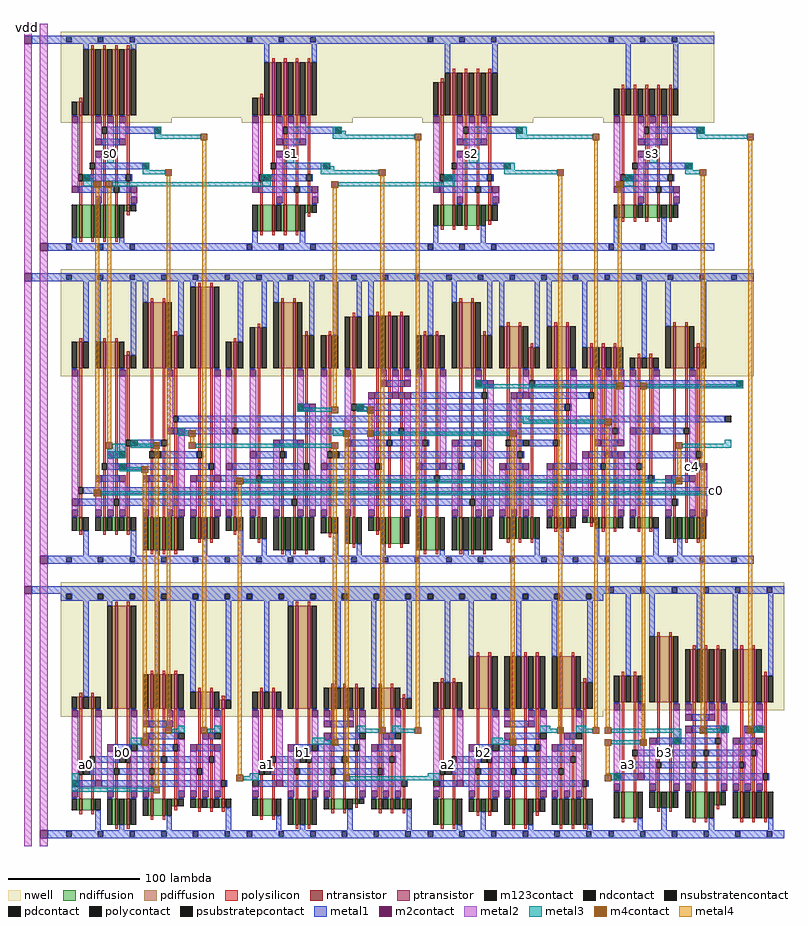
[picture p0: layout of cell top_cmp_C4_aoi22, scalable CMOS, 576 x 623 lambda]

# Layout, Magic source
magic
tech scmos
<< nwell >>
rect 0 546 495 611
rect 0 354 525 431
rect 0 101 548 194
<< metal1 >>
rect -22 602 495 608
rect -10 445 495 451
rect -22 422 525 428
rect -10 208 525 214
rect -22 185 548 191
rect -10 0 548 6
<< m2contact >>
rect -28 602 -22 608
rect -16 445 -10 451
rect -28 422 -22 428
rect -16 208 -10 214
rect -28 185 -22 191
rect -16 0 -10 6
<< metal2 >>
rect -28 608 -22 617
rect -28 428 -22 602
rect -28 191 -22 422
rect -28 -6 -22 185
rect -16 451 -10 617
rect -16 214 -10 445
rect -16 6 -10 208
rect -16 -6 -10 0
<< metal3 >>
rect 71 533 76 539
rect 206 536 213 539
rect 71 530 106 533
rect 206 533 216 536
rect 206 530 268 533
rect 345 533 353 539
rect 345 530 403 533
rect 482 533 488 539
rect 482 530 520 533
rect 35 512 40 521
rect 170 512 177 521
rect 309 512 317 521
rect 446 512 452 521
rect 62 506 67 512
rect 197 509 204 512
rect 62 503 79 506
rect 17 500 22 503
rect 197 506 207 509
rect 197 503 241 506
rect 17 494 25 500
rect 152 497 159 503
rect 336 506 344 512
rect 336 503 376 506
rect 291 500 299 503
rect 473 506 479 512
rect 473 503 484 506
rect 428 500 434 503
rect 39 494 159 497
rect 290 497 299 500
rect 210 494 299 497
rect 426 494 434 500
rect 314 344 319 347
rect 314 341 421 344
rect 512 344 517 347
rect 444 341 517 344
rect 179 326 184 329
rect 224 327 229 329
rect 179 323 205 326
rect 224 323 232 327
rect 350 317 355 320
rect 350 314 412 317
rect 89 309 94 311
rect 206 309 211 311
rect 89 305 97 309
rect 206 305 214 309
rect 237 305 340 308
rect 53 299 58 302
rect 39 295 49 299
rect 53 296 70 299
rect 102 296 205 299
rect 503 299 508 302
rect 471 296 508 299
rect 35 288 49 295
rect 44 281 49 284
rect 44 278 61 281
rect 476 278 481 284
rect 138 269 466 272
rect 494 263 499 266
rect 30 260 499 263
rect 89 83 94 85
rect 84 80 94 83
rect 116 83 121 85
rect 111 80 121 83
rect 224 83 231 85
rect 224 80 241 83
rect 251 83 258 85
rect 251 80 268 83
rect 363 83 371 85
rect 363 80 376 83
rect 390 83 398 85
rect 390 80 403 83
rect 417 80 470 83
rect 53 75 65 76
rect 53 71 61 75
rect 190 74 200 76
rect 190 71 205 74
rect 327 74 335 76
rect 327 71 340 74
rect 417 71 439 74
rect 464 71 470 80
rect 500 83 506 85
rect 527 84 533 85
rect 489 80 506 83
rect 525 80 533 84
rect 44 62 49 67
rect 179 62 186 67
rect 318 62 326 67
rect 455 62 461 67
rect 17 53 22 58
rect 152 53 159 58
rect 291 53 299 58
rect 428 53 434 58
rect 8 38 13 49
rect 143 47 150 49
rect 138 44 150 47
rect 278 47 287 49
rect 413 48 424 49
rect 219 44 287 47
rect 417 44 424 48
rect 8 35 70 38
<< m4contact >>
rect 106 529 111 534
rect 268 529 273 534
rect 403 529 408 534
rect 520 529 525 534
rect 79 502 84 507
rect 25 493 30 498
rect 34 493 39 498
rect 241 502 246 507
rect 376 502 381 507
rect 484 502 489 507
rect 205 493 210 498
rect 421 493 426 498
rect 421 340 426 345
rect 439 340 444 345
rect 205 322 210 327
rect 232 322 237 327
rect 412 313 417 318
rect 97 304 102 309
rect 214 304 219 309
rect 232 304 237 309
rect 340 304 345 309
rect 34 295 39 300
rect 70 295 75 300
rect 97 295 102 300
rect 205 295 210 300
rect 466 295 471 300
rect 61 277 66 282
rect 133 268 138 273
rect 466 268 471 273
rect 25 259 30 264
rect 79 79 84 84
rect 106 79 111 84
rect 241 79 246 84
rect 268 79 273 84
rect 376 79 381 84
rect 403 79 408 84
rect 412 79 417 84
rect 61 70 66 75
rect 205 70 210 75
rect 340 70 345 75
rect 412 70 417 75
rect 439 70 444 75
rect 484 79 489 84
rect 520 79 525 84
rect 133 43 138 48
rect 214 43 219 48
rect 412 43 417 48
rect 70 34 75 39
<< metal4 >>
rect 26 264 29 493
rect 35 300 38 493
rect 62 75 65 277
rect 71 39 74 295
rect 80 84 83 502
rect 98 300 101 304
rect 107 84 110 529
rect 206 327 209 493
rect 233 309 236 322
rect 134 48 137 268
rect 206 75 209 295
rect 215 48 218 304
rect 242 84 245 502
rect 269 84 272 529
rect 341 75 344 304
rect 377 84 380 502
rect 404 84 407 529
rect 422 345 425 493
rect 413 84 416 313
rect 440 75 443 340
rect 467 273 470 295
rect 485 84 488 502
rect 521 84 524 529
rect 413 48 416 70
use carry  carry_0
transform 1 0 0 0 1 208
box 0 0 525 223
use pg0  pg0_0
transform 1 0 0 0 1 0
box 0 0 137 194
use pg1  pg1_0
transform 1 0 137 0 1 0
box 0 0 137 194
use pg2  pg2_0
transform 1 0 274 0 1 0
box 0 0 137 194
use pg3  pg3_0
transform 1 0 411 0 1 0
box 0 0 137 194
use sum0  sum0_0
transform 1 0 0 0 1 445
box 0 0 84 166
use sum1  sum1_0
transform 1 0 137 0 1 445
box 0 0 84 166
use sum2  sum2_0
transform 1 0 274 0 1 445
box 0 0 84 166
use sum3  sum3_0
transform 1 0 411 0 1 445
box 0 0 84 166
<< labels >>
rlabel metal3 19 53 20 58 0 a0
port 1 nsew
rlabel metal3 156 53 157 58 0 a1
port 2 nsew
rlabel metal3 293 53 294 58 0 a2
port 3 nsew
rlabel metal3 430 53 431 58 0 a3
port 4 nsew
rlabel metal3 46 62 47 67 0 b0
port 5 nsew
rlabel metal3 183 62 184 67 0 b1
port 6 nsew
rlabel metal3 320 62 321 67 0 b2
port 7 nsew
rlabel metal3 457 62 458 67 0 b3
port 8 nsew
rlabel metal3 496 261 497 266 0 c0
port 9 nsew
rlabel metal3 478 279 479 284 0 c4
port 10 nsew
rlabel metal3 37 516 38 521 0 s0
port 11 nsew
rlabel metal3 174 516 175 521 0 s1
port 12 nsew
rlabel metal3 311 516 312 521 0 s2
port 13 nsew
rlabel metal3 448 516 449 521 0 s3
port 14 nsew
rlabel metal2 -28 611 -22 617 0 vdd
port 15 nsew
rlabel metal2 -16 611 -10 617 0 gnd
port 16 nsew
<< end >>

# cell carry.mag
magic
tech scmos
<< nwell >>
rect 0 142 525 223
<< ntransistor >>
rect 14 25 16 35
rect 32 25 34 35
rect 41 25 43 35
rect 50 25 52 35
rect 68 10 70 35
rect 77 10 79 35
rect 86 10 88 35
rect 104 19 106 35
rect 113 19 115 35
rect 131 25 133 35
rect 149 19 151 35
rect 167 10 169 35
rect 176 10 178 35
rect 185 10 187 35
rect 203 23 205 35
rect 221 15 223 35
rect 239 25 241 35
rect 248 15 250 35
rect 257 15 259 35
rect 275 10 277 35
rect 284 10 286 35
rect 302 10 304 35
rect 311 10 313 35
rect 320 10 322 35
rect 338 19 340 35
rect 347 19 349 35
rect 356 19 358 35
rect 374 27 376 35
rect 383 27 385 35
rect 401 31 403 35
rect 410 27 412 35
rect 419 27 421 35
rect 437 27 439 35
rect 446 27 448 35
rect 464 19 466 35
rect 473 19 475 35
rect 482 19 484 35
<< ptransistor >>
rect 14 148 16 168
rect 32 148 34 168
rect 41 148 43 168
rect 50 148 52 158
rect 68 148 70 198
rect 77 148 79 198
rect 86 148 88 173
rect 104 148 106 210
rect 113 148 115 210
rect 131 148 133 168
rect 149 148 151 179
rect 167 148 169 198
rect 176 148 178 198
rect 185 148 187 173
rect 203 148 205 173
rect 221 148 223 187
rect 239 148 241 188
rect 248 148 250 188
rect 257 148 259 188
rect 275 148 277 173
rect 284 148 286 173
rect 302 148 304 198
rect 311 148 313 198
rect 320 148 322 173
rect 338 148 340 180
rect 347 148 349 180
rect 356 148 358 164
rect 374 148 376 180
rect 383 148 385 180
rect 401 148 403 164
rect 410 148 412 164
rect 419 148 421 164
rect 437 148 439 156
rect 446 148 448 156
rect 464 148 466 180
rect 473 148 475 180
rect 482 148 484 164
<< ndiffusion >>
rect 12 25 14 35
rect 16 25 17 35
rect 30 25 32 35
rect 34 25 35 35
rect 39 25 41 35
rect 43 25 44 35
rect 48 25 50 35
rect 52 25 53 35
rect 66 10 68 35
rect 70 10 71 35
rect 75 10 77 35
rect 79 10 80 35
rect 84 10 86 35
rect 88 10 89 35
rect 102 19 104 35
rect 106 19 107 35
rect 111 19 113 35
rect 115 19 116 35
rect 129 25 131 35
rect 133 25 134 35
rect 147 19 149 35
rect 151 19 152 35
rect 165 10 167 35
rect 169 10 170 35
rect 174 10 176 35
rect 178 10 179 35
rect 183 10 185 35
rect 187 10 188 35
rect 201 23 203 35
rect 205 23 206 35
rect 219 15 221 35
rect 223 15 224 35
rect 237 25 239 35
rect 241 25 242 35
rect 246 15 248 35
rect 250 15 257 35
rect 259 15 260 35
rect 273 10 275 35
rect 277 10 284 35
rect 286 10 287 35
rect 300 10 302 35
rect 304 10 305 35
rect 309 10 311 35
rect 313 10 314 35
rect 318 10 320 35
rect 322 10 323 35
rect 336 19 338 35
rect 340 19 341 35
rect 345 19 347 35
rect 349 19 350 35
rect 354 19 356 35
rect 358 19 359 35
rect 372 27 374 35
rect 376 27 377 35
rect 381 27 383 35
rect 385 27 386 35
rect 399 31 401 35
rect 403 31 404 35
rect 408 27 410 35
rect 412 27 419 35
rect 421 27 422 35
rect 435 27 437 35
rect 439 27 446 35
rect 448 27 449 35
rect 462 19 464 35
rect 466 19 467 35
rect 471 19 473 35
rect 475 19 476 35
rect 480 19 482 35
rect 484 19 485 35
<< pdiffusion >>
rect 12 148 14 168
rect 16 148 17 168
rect 30 148 32 168
rect 34 148 41 168
rect 43 148 44 168
rect 48 148 50 158
rect 52 148 53 158
rect 66 148 68 198
rect 70 148 77 198
rect 79 148 80 198
rect 84 148 86 173
rect 88 148 89 173
rect 102 148 104 210
rect 106 148 113 210
rect 115 148 116 210
rect 129 148 131 168
rect 133 148 134 168
rect 147 148 149 179
rect 151 148 152 179
rect 165 148 167 198
rect 169 148 176 198
rect 178 148 179 198
rect 183 148 185 173
rect 187 148 188 173
rect 201 148 203 173
rect 205 148 206 173
rect 219 148 221 187
rect 223 148 224 187
rect 237 148 239 188
rect 241 148 242 188
rect 246 148 248 188
rect 250 148 251 188
rect 255 148 257 188
rect 259 148 260 188
rect 273 148 275 173
rect 277 148 278 173
rect 282 148 284 173
rect 286 148 287 173
rect 300 148 302 198
rect 304 148 311 198
rect 313 148 314 198
rect 318 148 320 173
rect 322 148 323 173
rect 336 148 338 180
rect 340 148 347 180
rect 349 148 350 180
rect 354 148 356 164
rect 358 148 359 164
rect 372 148 374 180
rect 376 148 383 180
rect 385 148 386 180
rect 399 148 401 164
rect 403 148 404 164
rect 408 148 410 164
rect 412 148 413 164
rect 417 148 419 164
rect 421 148 422 164
rect 435 148 437 156
rect 439 148 440 156
rect 444 148 446 156
rect 448 148 449 156
rect 462 148 464 180
rect 466 148 473 180
rect 475 148 476 180
rect 480 148 482 164
rect 484 148 485 164
<< ndcontact >>
rect 8 25 12 35
rect 17 25 21 35
rect 26 25 30 35
rect 35 25 39 35
rect 44 25 48 35
rect 53 25 57 35
rect 62 10 66 35
rect 71 10 75 35
rect 80 10 84 35
rect 89 10 93 35
rect 98 19 102 35
rect 107 19 111 35
rect 116 19 120 35
rect 125 25 129 35
rect 134 25 138 35
rect 143 19 147 35
rect 152 19 156 35
rect 161 10 165 35
rect 170 10 174 35
rect 179 10 183 35
rect 188 10 192 35
rect 197 23 201 35
rect 206 23 210 35
rect 215 15 219 35
rect 224 15 228 35
rect 233 25 237 35
rect 242 15 246 35
rect 260 15 264 35
rect 269 10 273 35
rect 287 10 291 35
rect 296 10 300 35
rect 305 10 309 35
rect 314 10 318 35
rect 323 10 327 35
rect 332 19 336 35
rect 341 19 345 35
rect 350 19 354 35
rect 359 19 363 35
rect 368 27 372 35
rect 377 27 381 35
rect 386 27 390 35
rect 395 31 399 35
rect 404 27 408 35
rect 422 27 426 35
rect 431 27 435 35
rect 449 27 453 35
rect 458 19 462 35
rect 467 19 471 35
rect 476 19 480 35
rect 485 19 489 35
<< pdcontact >>
rect 8 148 12 168
rect 17 148 21 168
rect 26 148 30 168
rect 44 148 48 168
rect 53 148 57 158
rect 62 148 66 198
rect 80 148 84 198
rect 89 148 93 173
rect 98 148 102 210
rect 116 148 120 210
rect 125 148 129 168
rect 134 148 138 168
rect 143 148 147 179
rect 152 148 156 179
rect 161 148 165 198
rect 179 148 183 198
rect 188 148 192 173
rect 197 148 201 173
rect 206 148 210 173
rect 215 148 219 187
rect 224 148 228 187
rect 233 148 237 188
rect 242 148 246 188
rect 251 148 255 188
rect 260 148 264 188
rect 269 148 273 173
rect 278 148 282 173
rect 287 148 291 173
rect 296 148 300 198
rect 314 148 318 198
rect 323 148 327 173
rect 332 148 336 180
rect 350 148 354 180
rect 359 148 363 164
rect 368 148 372 180
rect 386 148 390 180
rect 395 148 399 164
rect 404 148 408 164
rect 413 148 417 164
rect 422 148 426 164
rect 431 148 435 156
rect 440 148 444 156
rect 449 148 453 156
rect 458 148 462 180
rect 476 148 480 180
rect 485 148 489 164
<< psubstratepcontact >>
rect 4 1 8 5
rect 28 1 32 5
rect 52 1 56 5
rect 76 1 80 5
rect 100 1 104 5
rect 124 1 128 5
rect 148 1 152 5
rect 172 1 176 5
rect 196 1 200 5
rect 220 1 224 5
rect 244 1 248 5
rect 268 1 272 5
rect 292 1 296 5
rect 316 1 320 5
rect 340 1 344 5
rect 364 1 368 5
rect 388 1 392 5
rect 412 1 416 5
rect 436 1 440 5
rect 460 1 464 5
rect 484 1 488 5
rect 508 1 512 5
<< nsubstratencontact >>
rect 4 215 8 219
rect 28 215 32 219
rect 52 215 56 219
rect 76 215 80 219
rect 100 215 104 219
rect 124 215 128 219
rect 148 215 152 219
rect 172 215 176 219
rect 196 215 200 219
rect 220 215 224 219
rect 244 215 248 219
rect 268 215 272 219
rect 292 215 296 219
rect 316 215 320 219
rect 340 215 344 219
rect 364 215 368 219
rect 388 215 392 219
rect 412 215 416 219
rect 436 215 440 219
rect 460 215 464 219
rect 484 215 488 219
rect 508 215 512 219
<< polysilicon >>
rect 104 210 106 213
rect 113 210 115 213
rect 68 198 70 201
rect 77 198 79 201
rect 14 168 16 171
rect 32 168 34 171
rect 41 168 43 171
rect 50 158 52 161
rect 86 173 88 176
rect 167 198 169 201
rect 176 198 178 201
rect 302 198 304 201
rect 311 198 313 201
rect 149 179 151 182
rect 131 168 133 171
rect 221 187 223 190
rect 239 188 241 191
rect 248 188 250 191
rect 257 188 259 191
rect 185 173 187 176
rect 203 173 205 176
rect 275 173 277 176
rect 284 173 286 176
rect 338 180 340 183
rect 347 180 349 183
rect 374 180 376 183
rect 383 180 385 183
rect 464 180 466 183
rect 473 180 475 183
rect 320 173 322 176
rect 356 164 358 167
rect 401 164 403 167
rect 410 164 412 167
rect 419 164 421 167
rect 437 156 439 159
rect 446 156 448 159
rect 482 164 484 167
rect 14 58 16 148
rect 32 76 34 148
rect 14 35 16 53
rect 32 35 34 71
rect 41 49 43 148
rect 50 94 52 148
rect 41 35 43 44
rect 50 35 52 89
rect 68 85 70 148
rect 77 94 79 148
rect 86 112 88 148
rect 68 35 70 80
rect 77 35 79 89
rect 86 35 88 107
rect 104 85 106 148
rect 104 35 106 80
rect 113 76 115 148
rect 131 103 133 148
rect 113 35 115 71
rect 131 35 133 98
rect 149 67 151 148
rect 167 85 169 148
rect 149 35 151 62
rect 167 35 169 80
rect 176 49 178 148
rect 185 76 187 148
rect 203 85 205 148
rect 221 121 223 148
rect 176 35 178 44
rect 185 35 187 71
rect 203 35 205 80
rect 221 35 223 116
rect 239 76 241 148
rect 248 94 250 148
rect 257 103 259 148
rect 239 35 241 71
rect 248 35 250 89
rect 257 35 259 98
rect 275 94 277 148
rect 275 35 277 89
rect 284 67 286 148
rect 302 76 304 148
rect 284 35 286 62
rect 302 35 304 71
rect 311 49 313 148
rect 320 130 322 148
rect 311 35 313 44
rect 320 35 322 125
rect 338 94 340 148
rect 338 35 340 89
rect 347 85 349 148
rect 356 139 358 148
rect 347 35 349 80
rect 356 35 358 134
rect 374 94 376 148
rect 383 121 385 148
rect 401 130 403 148
rect 374 35 376 89
rect 383 35 385 116
rect 401 35 403 125
rect 410 76 412 148
rect 419 103 421 148
rect 410 35 412 71
rect 419 35 421 98
rect 437 76 439 148
rect 437 35 439 71
rect 446 67 448 148
rect 446 35 448 62
rect 464 49 466 148
rect 473 103 475 148
rect 464 35 466 44
rect 473 35 475 98
rect 482 85 484 148
rect 482 35 484 80
rect 14 22 16 25
rect 32 22 34 25
rect 41 22 43 25
rect 50 22 52 25
rect 131 22 133 25
rect 104 16 106 19
rect 113 16 115 19
rect 149 16 151 19
rect 203 20 205 23
rect 239 22 241 25
rect 221 12 223 15
rect 248 12 250 15
rect 257 12 259 15
rect 401 28 403 31
rect 374 24 376 27
rect 383 24 385 27
rect 410 24 412 27
rect 419 24 421 27
rect 437 24 439 27
rect 446 24 448 27
rect 338 16 340 19
rect 347 16 349 19
rect 356 16 358 19
rect 464 16 466 19
rect 473 16 475 19
rect 482 16 484 19
rect 68 7 70 10
rect 77 7 79 10
rect 86 7 88 10
rect 167 7 169 10
rect 176 7 178 10
rect 185 7 187 10
rect 275 7 277 10
rect 284 7 286 10
rect 302 7 304 10
rect 311 7 313 10
rect 320 7 322 10
<< polycontact >>
rect 31 71 35 76
rect 13 53 17 58
rect 49 89 53 94
rect 40 44 44 49
rect 85 107 89 112
rect 76 89 80 94
rect 67 80 71 85
rect 103 80 107 85
rect 130 98 134 103
rect 112 71 116 76
rect 166 80 170 85
rect 148 62 152 67
rect 220 116 224 121
rect 202 80 206 85
rect 184 71 188 76
rect 175 44 179 49
rect 256 98 260 103
rect 247 89 251 94
rect 238 71 242 76
rect 274 89 278 94
rect 301 71 305 76
rect 283 62 287 67
rect 319 125 323 130
rect 310 44 314 49
rect 337 89 341 94
rect 355 134 359 139
rect 346 80 350 85
rect 400 125 404 130
rect 382 116 386 121
rect 373 89 377 94
rect 418 98 422 103
rect 409 71 413 76
rect 436 71 440 76
rect 445 62 449 67
rect 472 98 476 103
rect 463 44 467 49
rect 481 80 485 85
<< metal1 >>
rect 0 219 525 220
rect 0 215 4 219
rect 8 215 28 219
rect 32 215 52 219
rect 56 215 76 219
rect 80 215 100 219
rect 104 215 124 219
rect 128 215 148 219
rect 152 215 172 219
rect 176 215 196 219
rect 200 215 220 219
rect 224 215 244 219
rect 248 215 268 219
rect 272 215 292 219
rect 296 215 316 219
rect 320 215 340 219
rect 344 215 364 219
rect 368 215 388 219
rect 392 215 412 219
rect 416 215 436 219
rect 440 215 460 219
rect 464 215 484 219
rect 488 215 508 219
rect 512 215 525 219
rect 0 214 525 215
rect 17 168 21 214
rect 26 168 30 214
rect 53 158 57 214
rect 62 198 66 214
rect 89 173 93 214
rect 98 210 102 214
rect 134 168 138 214
rect 152 179 156 214
rect 8 147 12 148
rect 44 147 48 148
rect 80 147 84 148
rect 116 147 120 148
rect 161 198 165 214
rect 188 173 192 214
rect 206 173 210 214
rect 224 187 228 214
rect 233 188 237 214
rect 125 147 129 148
rect 143 147 147 148
rect 179 147 183 148
rect 197 147 201 148
rect 215 147 219 148
rect 242 147 246 148
rect 251 147 255 148
rect 278 173 282 214
rect 296 198 300 214
rect 260 147 264 148
rect 323 173 327 214
rect 332 180 336 214
rect 359 164 363 214
rect 368 180 372 214
rect 395 164 399 214
rect 269 147 273 148
rect 287 147 291 148
rect 314 147 318 148
rect 350 147 354 148
rect 386 147 390 148
rect 404 147 408 148
rect 413 147 417 148
rect 440 156 444 214
rect 458 180 462 214
rect 422 147 426 148
rect 485 164 489 214
rect 431 147 435 148
rect 449 147 453 148
rect 476 147 480 148
rect 247 134 260 139
rect 319 134 323 139
rect 359 134 512 139
rect 238 125 251 130
rect 256 125 260 130
rect 265 125 319 130
rect 323 125 324 130
rect 346 125 350 130
rect 355 125 400 130
rect 404 125 405 130
rect 184 116 188 121
rect 229 116 382 121
rect 386 116 387 121
rect 89 107 503 112
rect 85 98 89 103
rect 94 98 130 103
rect 134 98 256 103
rect 260 98 418 103
rect 422 98 423 103
rect 436 98 449 103
rect 454 98 472 103
rect 476 98 477 103
rect 58 89 76 94
rect 80 89 81 94
rect 166 89 179 94
rect 220 89 247 94
rect 251 89 274 94
rect 278 89 279 94
rect 301 89 314 94
rect 341 89 350 94
rect 355 89 373 94
rect 377 89 378 94
rect 409 89 422 94
rect 40 80 44 85
rect 76 80 103 85
rect 107 80 108 85
rect 148 80 166 85
rect 170 80 171 85
rect 211 80 346 85
rect 350 80 351 85
rect 400 80 413 85
rect 418 80 422 85
rect 427 80 481 85
rect 485 80 486 85
rect 35 71 44 76
rect 49 71 112 76
rect 116 71 117 76
rect 130 71 184 76
rect 188 71 189 76
rect 202 71 238 76
rect 242 71 243 76
rect 274 71 287 76
rect 292 71 301 76
rect 305 71 306 76
rect 337 71 350 76
rect 373 71 386 76
rect 391 71 409 76
rect 413 71 436 76
rect 440 71 441 76
rect 481 71 485 76
rect 31 62 44 67
rect 67 62 80 67
rect 103 62 116 67
rect 121 62 148 67
rect 152 62 283 67
rect 287 62 445 67
rect 449 62 450 67
rect 463 62 476 67
rect 17 53 494 58
rect 13 44 40 49
rect 44 44 175 49
rect 179 44 310 49
rect 314 44 463 49
rect 467 44 468 49
rect 8 35 12 36
rect 26 35 30 36
rect 35 35 39 36
rect 44 35 48 36
rect 62 35 66 36
rect 80 35 84 36
rect 17 6 21 25
rect 53 6 57 25
rect 89 35 93 36
rect 98 35 102 36
rect 116 35 120 36
rect 125 35 129 36
rect 143 35 147 36
rect 161 35 165 36
rect 179 35 183 36
rect 71 6 75 10
rect 107 6 111 19
rect 134 6 138 25
rect 152 6 156 19
rect 188 35 192 36
rect 197 35 201 36
rect 215 35 219 36
rect 233 35 237 36
rect 260 35 264 36
rect 170 6 174 10
rect 206 6 210 23
rect 224 6 228 15
rect 269 35 273 36
rect 296 35 300 36
rect 314 35 318 36
rect 242 6 246 15
rect 323 35 327 36
rect 332 35 336 36
rect 341 35 345 36
rect 350 35 354 36
rect 368 35 372 36
rect 386 35 390 36
rect 395 35 399 36
rect 422 35 426 36
rect 431 35 435 36
rect 458 35 462 36
rect 476 35 480 36
rect 287 6 291 10
rect 305 6 309 10
rect 359 6 363 19
rect 377 6 381 27
rect 404 6 408 27
rect 449 6 453 27
rect 485 35 489 36
rect 467 6 471 19
rect 0 5 525 6
rect 0 1 4 5
rect 8 1 28 5
rect 32 1 52 5
rect 56 1 76 5
rect 80 1 100 5
rect 104 1 124 5
rect 128 1 148 5
rect 152 1 172 5
rect 176 1 196 5
rect 200 1 220 5
rect 224 1 244 5
rect 248 1 268 5
rect 272 1 292 5
rect 296 1 316 5
rect 320 1 340 5
rect 344 1 364 5
rect 368 1 388 5
rect 392 1 412 5
rect 416 1 436 5
rect 440 1 460 5
rect 464 1 484 5
rect 488 1 508 5
rect 512 1 525 5
rect 0 0 525 1
<< m2contact >>
rect 8 142 13 147
rect 44 142 49 147
rect 80 142 85 147
rect 116 142 121 147
rect 125 142 130 147
rect 143 142 148 147
rect 179 142 184 147
rect 197 142 202 147
rect 215 142 220 147
rect 242 142 247 147
rect 251 142 256 147
rect 260 142 265 147
rect 269 142 274 147
rect 287 142 292 147
rect 314 142 319 147
rect 350 142 355 147
rect 386 142 391 147
rect 404 142 409 147
rect 413 142 418 147
rect 422 142 427 147
rect 431 142 436 147
rect 449 142 454 147
rect 476 142 481 147
rect 242 134 247 139
rect 260 134 265 139
rect 323 134 328 139
rect 233 125 238 130
rect 251 125 256 130
rect 260 125 265 130
rect 341 125 346 130
rect 350 125 355 130
rect 188 116 193 121
rect 80 98 85 103
rect 89 98 94 103
rect 431 98 436 103
rect 449 98 454 103
rect 161 89 166 94
rect 179 89 184 94
rect 215 89 220 94
rect 296 89 301 94
rect 314 89 319 94
rect 404 89 409 94
rect 422 89 427 94
rect 35 80 40 85
rect 143 80 148 85
rect 395 80 400 85
rect 413 80 418 85
rect 422 80 427 85
rect 125 71 130 76
rect 197 71 202 76
rect 269 71 274 76
rect 287 71 292 76
rect 332 71 337 76
rect 350 71 355 76
rect 368 71 373 76
rect 386 71 391 76
rect 485 71 490 76
rect 26 62 31 67
rect 44 62 49 67
rect 62 62 67 67
rect 80 62 85 67
rect 98 62 103 67
rect 116 62 121 67
rect 458 62 463 67
rect 476 62 481 67
rect 8 44 13 49
rect 8 36 13 41
rect 26 36 31 41
rect 35 36 40 41
rect 44 36 49 41
rect 62 36 67 41
rect 80 36 85 41
rect 89 36 94 41
rect 98 36 103 41
rect 116 36 121 41
rect 125 36 130 41
rect 143 36 148 41
rect 161 36 166 41
rect 179 36 184 41
rect 188 36 193 41
rect 197 36 202 41
rect 215 36 220 41
rect 233 36 238 41
rect 260 36 265 41
rect 269 36 274 41
rect 296 36 301 41
rect 314 36 319 41
rect 323 36 328 41
rect 332 36 337 41
rect 341 36 346 41
rect 350 36 355 41
rect 368 36 373 41
rect 386 36 391 41
rect 395 36 400 41
rect 422 36 427 41
rect 431 36 436 41
rect 458 36 463 41
rect 476 36 481 41
rect 485 36 490 41
<< metal2 >>
rect 8 49 13 142
rect 44 85 49 142
rect 80 103 85 142
rect 8 41 13 44
rect 26 41 31 62
rect 35 41 40 80
rect 44 41 49 62
rect 62 41 67 62
rect 80 41 85 62
rect 89 41 94 98
rect 116 67 121 142
rect 98 41 103 62
rect 116 41 121 62
rect 125 76 130 142
rect 125 41 130 71
rect 143 85 148 142
rect 179 121 184 142
rect 143 41 148 80
rect 161 41 166 89
rect 179 41 184 89
rect 188 41 193 116
rect 197 76 202 142
rect 215 94 220 142
rect 242 139 247 142
rect 251 130 256 142
rect 260 139 265 142
rect 197 41 202 71
rect 215 41 220 89
rect 233 41 238 125
rect 260 41 265 125
rect 269 76 274 142
rect 287 76 292 142
rect 314 139 319 142
rect 269 41 274 71
rect 296 41 301 89
rect 314 41 319 89
rect 323 41 328 134
rect 350 130 355 142
rect 332 41 337 71
rect 341 41 346 125
rect 386 76 391 142
rect 404 94 409 142
rect 413 85 418 142
rect 422 94 427 142
rect 431 103 436 142
rect 449 103 454 142
rect 350 41 355 71
rect 368 41 373 71
rect 386 41 391 71
rect 395 41 400 80
rect 422 41 427 80
rect 431 41 436 98
rect 476 76 481 142
rect 458 41 463 62
rect 476 41 481 62
rect 485 41 490 71
<< m123contact >>
rect 53 89 58 94
rect 44 80 49 85
rect 71 80 76 85
rect 44 71 49 76
rect 179 116 184 121
rect 224 116 229 121
rect 206 80 211 85
rect 314 134 319 139
rect 350 89 355 94
rect 512 134 517 139
rect 503 107 508 112
rect 476 71 481 76
rect 494 53 499 58
<< labels >>
rlabel metal1 13 53 15 58 0 c0
port 1 nsew
rlabel m2contact 35 80 37 85 0 c1
port 2 nsew
rlabel metal1 179 116 181 121 0 c2
port 3 nsew
rlabel metal1 314 134 316 139 0 c3
port 4 nsew
rlabel metal1 476 71 478 76 0 c4
port 5 nsew
rlabel metal1 49 89 51 94 0 g0b
port 6 nsew
rlabel metal1 85 107 87 112 0 g1b
port 7 nsew
rlabel metal1 202 80 204 85 0 g2b
port 8 nsew
rlabel metal1 355 134 357 139 0 g3b
port 9 nsew
rlabel metal1 31 71 33 76 0 t0b
port 10 nsew
rlabel metal1 67 80 69 85 0 t1b
port 11 nsew
rlabel metal1 220 116 222 121 0 t2b
port 12 nsew
rlabel metal1 337 89 339 94 0 t3b
port 13 nsew
rlabel m2contact 8 44 10 49 0 c0b
rlabel m2contact 26 62 28 67 0 c1_xn1
rlabel m2contact 161 89 163 94 0 c2_xn1
rlabel m2contact 296 89 298 94 0 c3_xn1
rlabel m2contact 458 62 460 67 0 c4g_xn1
rlabel m2contact 62 62 64 67 0 g10_xn1
rlabel m2contact 80 98 82 103 0 g1_0
rlabel m2contact 125 71 127 76 0 g1_0b
rlabel m2contact 197 71 199 76 0 g2
rlabel m2contact 242 134 244 139 0 g20_xp1
rlabel m2contact 233 125 235 130 0 g2_0b
rlabel m2contact 404 89 406 94 0 g30_xp1
rlabel m2contact 332 71 334 76 0 g32_xn1
rlabel m2contact 395 80 397 85 0 g3_0b
rlabel m2contact 341 125 343 130 0 g3_2
rlabel m2contact 98 62 100 67 0 t1_0
rlabel m2contact 143 80 145 85 0 t1_0b
rlabel m2contact 215 89 217 94 0 t2
rlabel m2contact 269 71 271 76 0 t2_0b
rlabel m2contact 431 98 433 103 0 t3_0b
rlabel m2contact 368 71 370 76 0 t3_2
rlabel metal1 0 214 2 220 0 vdd
port 14 nsew
rlabel metal1 0 0 2 6 0 gnd
port 15 nsew
<< end >>

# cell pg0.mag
magic
tech scmos
<< nwell >>
rect 0 92 137 189
<< ntransistor >>
rect 14 21 16 30
rect 23 21 25 30
rect 41 10 43 30
rect 50 10 52 30
rect 68 17 70 30
rect 77 17 79 30
rect 86 24 88 30
rect 104 23 106 30
rect 113 23 115 30
rect 122 23 124 30
<< ptransistor >>
rect 14 98 16 107
rect 23 98 25 107
rect 41 98 43 176
rect 50 98 52 176
rect 68 98 70 124
rect 77 98 79 124
rect 86 98 88 124
rect 104 98 106 111
rect 113 98 115 111
rect 122 98 124 105
<< ndiffusion >>
rect 12 21 14 30
rect 16 21 23 30
rect 25 21 26 30
rect 39 10 41 30
rect 43 10 44 30
rect 48 10 50 30
rect 52 10 53 30
rect 66 17 68 30
rect 70 17 77 30
rect 79 17 80 30
rect 84 24 86 30
rect 88 24 89 30
rect 102 23 104 30
rect 106 23 107 30
rect 111 23 113 30
rect 115 23 116 30
rect 120 23 122 30
rect 124 23 125 30
<< pdiffusion >>
rect 12 98 14 107
rect 16 98 17 107
rect 21 98 23 107
rect 25 98 26 107
rect 39 98 41 176
rect 43 98 50 176
rect 52 98 53 176
rect 66 98 68 124
rect 70 98 71 124
rect 75 98 77 124
rect 79 98 80 124
rect 84 98 86 124
rect 88 98 89 124
rect 102 98 104 111
rect 106 98 113 111
rect 115 98 116 111
rect 120 98 122 105
rect 124 98 125 105
<< ndcontact >>
rect 8 21 12 30
rect 26 21 30 30
rect 35 10 39 30
rect 44 10 48 30
rect 53 10 57 30
rect 62 17 66 30
rect 80 17 84 30
rect 89 24 93 30
rect 98 23 102 30
rect 107 23 111 30
rect 116 23 120 30
rect 125 23 129 30
<< pdcontact >>
rect 8 98 12 107
rect 17 98 21 107
rect 26 98 30 107
rect 35 98 39 176
rect 53 98 57 176
rect 62 98 66 124
rect 71 98 75 124
rect 80 98 84 124
rect 89 98 93 124
rect 98 98 102 111
rect 116 98 120 111
rect 125 98 129 105
<< psubstratepcontact >>
rect 4 1 8 5
rect 28 1 32 5
rect 52 1 56 5
rect 76 1 80 5
rect 100 1 104 5
rect 124 1 128 5
<< nsubstratencontact >>
rect 4 181 8 185
rect 28 181 32 185
rect 52 181 56 185
rect 76 181 80 185
rect 100 181 104 185
rect 124 181 128 185
<< polysilicon >>
rect 41 176 43 179
rect 50 176 52 179
rect 14 107 16 110
rect 23 107 25 110
rect 68 124 70 127
rect 77 124 79 127
rect 86 124 88 127
rect 104 111 106 114
rect 113 111 115 114
rect 122 105 124 108
rect 14 53 16 98
rect 23 62 25 98
rect 14 30 16 48
rect 23 30 25 57
rect 41 53 43 98
rect 50 62 52 98
rect 41 30 43 48
rect 50 30 52 57
rect 68 53 70 98
rect 77 62 79 98
rect 86 71 88 98
rect 68 30 70 48
rect 77 30 79 57
rect 86 30 88 66
rect 104 53 106 98
rect 113 62 115 98
rect 104 30 106 48
rect 113 30 115 57
rect 122 44 124 98
rect 122 30 124 39
rect 14 18 16 21
rect 23 18 25 21
rect 86 21 88 24
rect 104 20 106 23
rect 113 20 115 23
rect 122 20 124 23
rect 68 14 70 17
rect 77 14 79 17
rect 41 7 43 10
rect 50 7 52 10
<< polycontact >>
rect 22 57 26 62
rect 13 48 17 53
rect 49 57 53 62
rect 40 48 44 53
rect 85 66 89 71
rect 76 57 80 62
rect 67 48 71 53
rect 112 57 116 62
rect 103 48 107 53
rect 121 39 125 44
<< metal1 >>
rect 0 185 137 186
rect 0 181 4 185
rect 8 181 28 185
rect 32 181 52 185
rect 56 181 76 185
rect 80 181 100 185
rect 104 181 124 185
rect 128 181 137 185
rect 0 180 137 181
rect 17 107 21 180
rect 35 176 39 180
rect 71 124 75 180
rect 8 97 12 98
rect 26 97 30 98
rect 53 97 57 98
rect 62 97 66 98
rect 80 97 84 98
rect 98 111 102 180
rect 125 105 129 180
rect 89 97 93 98
rect 116 97 120 98
rect 67 84 80 89
rect 67 75 89 80
rect 112 75 116 80
rect 40 66 53 71
rect 58 66 85 71
rect 89 66 90 71
rect 103 66 116 71
rect 26 57 44 62
rect 53 57 76 62
rect 80 57 112 62
rect 116 57 117 62
rect 22 48 40 53
rect 44 48 67 53
rect 71 48 103 53
rect 107 48 108 53
rect 13 39 26 44
rect 31 39 121 44
rect 125 39 126 44
rect 8 30 12 31
rect 35 30 39 31
rect 53 30 57 31
rect 26 6 30 21
rect 62 30 66 31
rect 89 30 93 31
rect 98 30 102 31
rect 107 30 111 31
rect 116 30 120 31
rect 44 6 48 10
rect 80 6 84 17
rect 125 6 129 23
rect 0 5 137 6
rect 0 1 4 5
rect 8 1 28 5
rect 32 1 52 5
rect 56 1 76 5
rect 80 1 100 5
rect 104 1 124 5
rect 128 1 137 5
rect 0 0 137 1
<< m2contact >>
rect 8 92 13 97
rect 26 92 31 97
rect 53 92 58 97
rect 62 92 67 97
rect 80 92 85 97
rect 89 92 94 97
rect 116 92 121 97
rect 62 84 67 89
rect 80 84 85 89
rect 62 75 67 80
rect 107 75 112 80
rect 35 66 40 71
rect 98 66 103 71
rect 116 66 121 71
rect 26 39 31 44
rect 8 31 13 36
rect 35 31 40 36
rect 53 31 58 36
rect 62 31 67 36
rect 89 31 94 36
rect 98 31 103 36
rect 107 31 112 36
rect 116 31 121 36
<< metal2 >>
rect 8 44 13 92
rect 26 44 31 92
rect 53 71 58 92
rect 62 89 67 92
rect 80 89 85 92
rect 89 80 94 92
rect 116 80 121 92
rect 8 36 13 39
rect 35 36 40 66
rect 53 36 58 66
rect 62 36 67 75
rect 89 36 94 75
rect 98 36 103 66
rect 107 36 112 75
rect 116 36 121 66
<< m123contact >>
rect 17 48 22 53
rect 8 39 13 44
rect 53 66 58 71
rect 44 57 49 62
rect 89 75 94 80
rect 116 75 121 80
<< labels >>
rlabel metal1 13 48 15 53 0 a0
port 1 nsew
rlabel metal1 22 57 24 62 0 b0
port 2 nsew
rlabel metal1 8 39 10 44 0 g0b
port 3 nsew
rlabel m2contact 62 75 64 80 0 p0
port 4 nsew
rlabel m2contact 107 75 109 80 0 p0b
port 5 nsew
rlabel m2contact 35 66 37 71 0 t0b
port 6 nsew
rlabel m2contact 62 84 64 89 0 aoi0_xp1
rlabel m2contact 98 66 100 71 0 oai0_xn1
rlabel metal1 0 180 2 186 0 vdd
port 7 nsew
rlabel metal1 0 0 2 6 0 gnd
port 8 nsew
<< end >>

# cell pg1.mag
magic
tech scmos
<< nwell >>
rect 0 92 137 189
<< ntransistor >>
rect 14 17 16 30
rect 23 17 25 30
rect 41 10 43 30
rect 50 10 52 30
rect 68 22 70 30
rect 77 22 79 30
rect 86 26 88 30
rect 104 22 106 30
rect 113 22 115 30
rect 122 22 124 30
<< ptransistor >>
rect 14 98 16 111
rect 23 98 25 111
rect 41 98 43 176
rect 50 98 52 176
rect 68 98 70 114
rect 77 98 79 114
rect 86 98 88 114
rect 104 98 106 114
rect 113 98 115 114
rect 122 98 124 106
<< ndiffusion >>
rect 12 17 14 30
rect 16 17 23 30
rect 25 17 26 30
rect 39 10 41 30
rect 43 10 44 30
rect 48 10 50 30
rect 52 10 53 30
rect 66 22 68 30
rect 70 22 77 30
rect 79 22 80 30
rect 84 26 86 30
rect 88 26 89 30
rect 102 22 104 30
rect 106 22 107 30
rect 111 22 113 30
rect 115 22 116 30
rect 120 22 122 30
rect 124 22 125 30
<< pdiffusion >>
rect 12 98 14 111
rect 16 98 17 111
rect 21 98 23 111
rect 25 98 26 111
rect 39 98 41 176
rect 43 98 50 176
rect 52 98 53 176
rect 66 98 68 114
rect 70 98 71 114
rect 75 98 77 114
rect 79 98 80 114
rect 84 98 86 114
rect 88 98 89 114
rect 102 98 104 114
rect 106 98 113 114
rect 115 98 116 114
rect 120 98 122 106
rect 124 98 125 106
<< ndcontact >>
rect 8 17 12 30
rect 26 17 30 30
rect 35 10 39 30
rect 44 10 48 30
rect 53 10 57 30
rect 62 22 66 30
rect 80 22 84 30
rect 89 26 93 30
rect 98 22 102 30
rect 107 22 111 30
rect 116 22 120 30
rect 125 22 129 30
<< pdcontact >>
rect 8 98 12 111
rect 17 98 21 111
rect 26 98 30 111
rect 35 98 39 176
rect 53 98 57 176
rect 62 98 66 114
rect 71 98 75 114
rect 80 98 84 114
rect 89 98 93 114
rect 98 98 102 114
rect 116 98 120 114
rect 125 98 129 106
<< psubstratepcontact >>
rect 4 1 8 5
rect 28 1 32 5
rect 52 1 56 5
rect 76 1 80 5
rect 100 1 104 5
rect 124 1 128 5
<< nsubstratencontact >>
rect 4 181 8 185
rect 28 181 32 185
rect 52 181 56 185
rect 76 181 80 185
rect 100 181 104 185
rect 124 181 128 185
<< polysilicon >>
rect 41 176 43 179
rect 50 176 52 179
rect 14 111 16 114
rect 23 111 25 114
rect 68 114 70 117
rect 77 114 79 117
rect 86 114 88 117
rect 104 114 106 117
rect 113 114 115 117
rect 122 106 124 109
rect 14 53 16 98
rect 23 62 25 98
rect 14 30 16 48
rect 23 30 25 57
rect 41 53 43 98
rect 50 62 52 98
rect 41 30 43 48
rect 50 30 52 57
rect 68 53 70 98
rect 77 62 79 98
rect 86 71 88 98
rect 68 30 70 48
rect 77 30 79 57
rect 86 30 88 66
rect 104 53 106 98
rect 113 62 115 98
rect 104 30 106 48
rect 113 30 115 57
rect 122 44 124 98
rect 122 30 124 39
rect 14 14 16 17
rect 23 14 25 17
rect 86 23 88 26
rect 68 19 70 22
rect 77 19 79 22
rect 104 19 106 22
rect 113 19 115 22
rect 122 19 124 22
rect 41 7 43 10
rect 50 7 52 10
<< polycontact >>
rect 22 57 26 62
rect 13 48 17 53
rect 49 57 53 62
rect 40 48 44 53
rect 85 66 89 71
rect 76 57 80 62
rect 67 48 71 53
rect 112 57 116 62
rect 103 48 107 53
rect 121 39 125 44
<< metal1 >>
rect 0 185 137 186
rect 0 181 4 185
rect 8 181 28 185
rect 32 181 52 185
rect 56 181 76 185
rect 80 181 100 185
rect 104 181 124 185
rect 128 181 137 185
rect 0 180 137 181
rect 17 111 21 180
rect 35 176 39 180
rect 71 114 75 180
rect 98 114 102 180
rect 8 97 12 98
rect 26 97 30 98
rect 53 97 57 98
rect 62 97 66 98
rect 80 97 84 98
rect 125 106 129 180
rect 89 97 93 98
rect 116 97 120 98
rect 67 84 80 89
rect 67 75 89 80
rect 112 75 116 80
rect 40 66 53 71
rect 58 66 85 71
rect 89 66 90 71
rect 103 66 116 71
rect 26 57 44 62
rect 53 57 76 62
rect 80 57 112 62
rect 116 57 117 62
rect 22 48 40 53
rect 44 48 67 53
rect 71 48 103 53
rect 107 48 108 53
rect 13 39 26 44
rect 31 39 121 44
rect 125 39 126 44
rect 8 30 12 31
rect 35 30 39 31
rect 53 30 57 31
rect 26 6 30 17
rect 62 30 66 31
rect 89 30 93 31
rect 98 30 102 31
rect 107 30 111 31
rect 116 30 120 31
rect 44 6 48 10
rect 80 6 84 22
rect 125 6 129 22
rect 0 5 137 6
rect 0 1 4 5
rect 8 1 28 5
rect 32 1 52 5
rect 56 1 76 5
rect 80 1 100 5
rect 104 1 124 5
rect 128 1 137 5
rect 0 0 137 1
<< m2contact >>
rect 8 92 13 97
rect 26 92 31 97
rect 53 92 58 97
rect 62 92 67 97
rect 80 92 85 97
rect 89 92 94 97
rect 116 92 121 97
rect 62 84 67 89
rect 80 84 85 89
rect 62 75 67 80
rect 107 75 112 80
rect 35 66 40 71
rect 98 66 103 71
rect 116 66 121 71
rect 26 39 31 44
rect 8 31 13 36
rect 35 31 40 36
rect 53 31 58 36
rect 62 31 67 36
rect 89 31 94 36
rect 98 31 103 36
rect 107 31 112 36
rect 116 31 121 36
<< metal2 >>
rect 8 44 13 92
rect 26 44 31 92
rect 53 71 58 92
rect 62 89 67 92
rect 80 89 85 92
rect 89 80 94 92
rect 116 80 121 92
rect 8 36 13 39
rect 35 36 40 66
rect 53 36 58 66
rect 62 36 67 75
rect 89 36 94 75
rect 98 36 103 66
rect 107 36 112 75
rect 116 36 121 66
<< m123contact >>
rect 17 48 22 53
rect 8 39 13 44
rect 53 66 58 71
rect 44 57 49 62
rect 89 75 94 80
rect 116 75 121 80
<< labels >>
rlabel metal1 13 48 15 53 0 a1
port 1 nsew
rlabel metal1 22 57 24 62 0 b1
port 2 nsew
rlabel metal1 8 39 10 44 0 g1b
port 3 nsew
rlabel m2contact 62 75 64 80 0 p1
port 4 nsew
rlabel m2contact 107 75 109 80 0 p1b
port 5 nsew
rlabel m2contact 35 66 37 71 0 t1b
port 6 nsew
rlabel m2contact 62 84 64 89 0 aoi1_xp1
rlabel m2contact 98 66 100 71 0 oai1_xn1
rlabel metal1 0 180 2 186 0 vdd
port 7 nsew
rlabel metal1 0 0 2 6 0 gnd
port 8 nsew
<< end >>

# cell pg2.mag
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
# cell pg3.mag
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
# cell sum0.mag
magic
tech scmos
<< nwell >>
rect 0 97 84 166
<< ntransistor >>
rect 14 10 16 35
rect 23 10 25 35
rect 32 10 34 35
rect 41 10 43 35
rect 50 30 52 35
<< ptransistor >>
rect 14 103 16 113
rect 23 103 25 153
rect 32 103 34 153
rect 41 103 43 153
rect 50 103 52 153
<< ndiffusion >>
rect 12 10 14 35
rect 16 10 23 35
rect 25 10 26 35
rect 30 10 32 35
rect 34 10 41 35
rect 43 10 44 35
rect 48 30 50 35
rect 52 30 53 35
<< pdiffusion >>
rect 12 103 14 113
rect 16 103 17 113
rect 21 103 23 153
rect 25 103 26 153
rect 30 103 32 153
rect 34 103 35 153
rect 39 103 41 153
rect 43 103 44 153
rect 48 103 50 153
rect 52 103 53 153
<< ndcontact >>
rect 8 10 12 35
rect 26 10 30 35
rect 44 10 48 35
rect 53 30 57 35
<< pdcontact >>
rect 8 103 12 113
rect 17 103 21 153
rect 26 103 30 153
rect 35 103 39 153
rect 44 103 48 153
rect 53 103 57 153
<< psubstratepcontact >>
rect 4 1 8 5
rect 28 1 32 5
rect 52 1 56 5
<< nsubstratencontact >>
rect 4 158 8 162
rect 28 158 32 162
rect 52 158 56 162
<< polysilicon >>
rect 23 153 25 156
rect 32 153 34 156
rect 41 153 43 156
rect 50 153 52 156
rect 14 113 16 116
rect 14 58 16 103
rect 23 67 25 103
rect 32 94 34 103
rect 14 35 16 53
rect 23 35 25 62
rect 32 35 34 89
rect 41 49 43 103
rect 50 58 52 103
rect 41 35 43 44
rect 50 35 52 53
rect 50 27 52 30
rect 14 7 16 10
rect 23 7 25 10
rect 32 7 34 10
rect 41 7 43 10
<< polycontact >>
rect 31 89 35 94
rect 22 62 26 67
rect 13 53 17 58
rect 49 53 53 58
rect 40 44 44 49
<< metal1 >>
rect 0 162 84 163
rect 0 158 4 162
rect 8 158 28 162
rect 32 158 52 162
rect 56 158 84 162
rect 0 157 84 158
rect 17 153 21 157
rect 53 153 57 157
rect 8 102 12 103
rect 26 102 30 103
rect 35 102 39 103
rect 44 102 48 103
rect 35 89 71 94
rect 31 80 44 85
rect 31 71 35 76
rect 26 62 62 67
rect 22 53 49 58
rect 53 53 54 58
rect 13 44 40 49
rect 44 44 53 49
rect 26 35 30 36
rect 53 35 57 36
rect 8 6 12 10
rect 44 6 48 10
rect 0 5 84 6
rect 0 1 4 5
rect 8 1 28 5
rect 32 1 52 5
rect 56 1 84 5
rect 0 0 84 1
<< m2contact >>
rect 8 97 13 102
rect 26 97 31 102
rect 35 97 40 102
rect 44 97 49 102
rect 26 80 31 85
rect 44 80 49 85
rect 26 71 31 76
rect 8 44 13 49
rect 53 44 58 49
rect 26 36 31 41
rect 53 36 58 41
<< metal2 >>
rect 8 49 13 97
rect 26 85 31 97
rect 35 76 40 97
rect 44 85 49 97
rect 26 41 31 71
rect 53 41 58 44
<< m123contact >>
rect 71 89 76 94
rect 35 71 40 76
rect 17 53 22 58
rect 62 62 67 67
<< labels >>
rlabel metal1 13 53 15 58 0 c0
port 1 nsew
rlabel metal1 22 62 24 67 0 p0
port 2 nsew
rlabel metal1 31 89 33 94 0 p0b
port 3 nsew
rlabel m2contact 26 71 28 76 0 s0
port 4 nsew
rlabel m2contact 8 44 10 49 0 x0_cb
rlabel m2contact 26 80 28 85 0 x0_s1xp1
rlabel metal1 0 157 2 163 0 vdd
port 5 nsew
rlabel metal1 0 0 2 6 0 gnd
port 6 nsew
<< end >>

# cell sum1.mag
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
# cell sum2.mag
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
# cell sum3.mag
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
